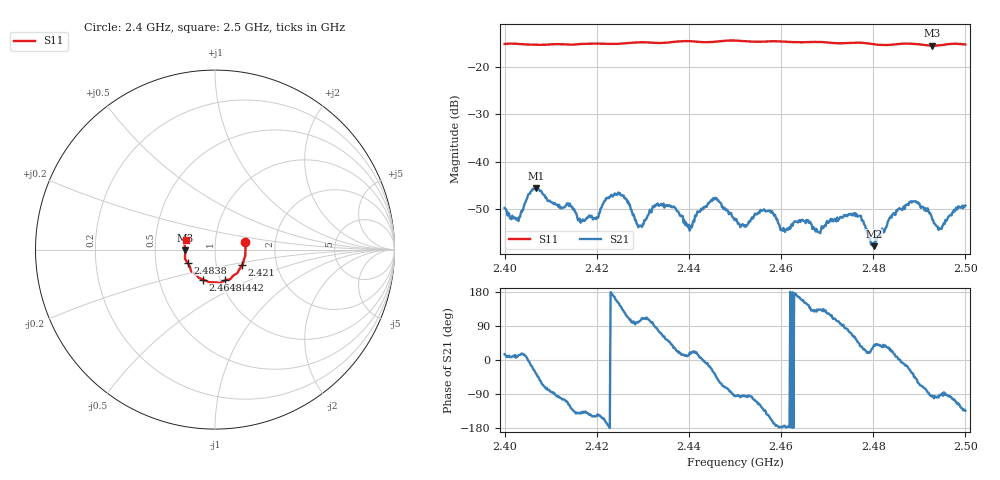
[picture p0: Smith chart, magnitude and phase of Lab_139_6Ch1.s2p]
# Hz S RI R 50
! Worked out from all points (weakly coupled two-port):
!   601 points, 2.4 GHz to 2.5 GHz, reference 50 ohm
!   highest |S21| = -45.57 dB at 2.4068 GHz (marker M1); lowest = -57.8 dB at 2.4802 GHz (marker M2)
!   lowest |S11| = -15.6 dB at 2.4928 GHz (marker M3), VSWR 1.40, Z = 35.8 - j0.355 ohm
!   |S11| at or under -10 dB: start of sweep to end of sweep
!   S12 and S22 are empty: the file has one direction only
!   S11 on the Smith chart (normalised r, x): 2.4 GHz: 1.40, +0.12; 2.421 GHz: 1.33, -0.24; 2.4442 GHz: 1.05, -0.37; 2.4648 GHz: 0.83, -0.29; 2.4838 GHz: 0.73, -0.11; 2.5 GHz: 0.72, +0.08
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2.4e9  0.1679 0.041  0.00314 0.000854  0 0  0 0
2.402833e9  0.1713 0.0255  0.00251 0.000414  0 0  0 0
2.406833e9  0.1694 -0.00795  0.00427 -0.00309  0 0  0 0
2.416667e9  0.1588 -0.0682  -0.00181 -0.00149  0 0  0 0
2.421e9  0.1503 -0.0878  -0.00284 -0.00161  0 0  0 0
2.425167e9  0.1351 -0.1091  -0.00351 0.00275  0 0  0 0
2.429333e9  0.1263 -0.1282  -0.000472 0.00207  0 0  0 0
2.433333e9  0.1078 -0.1405  0.000771 0.00349  0 0  0 0
2.440167e9  0.0813 -0.1663  0.00178 0.000623  0 0  0 0
2.444167e9  0.0567 -0.1713  0.00359 -0.000762  0 0  0 0
2.45e9  0.0244 -0.1863  -0.000197 -0.0025  0 0  0 0
2.456e9  -0.0141 -0.182  -0.00188 -0.00241  0 0  0 0
2.464833e9  -0.0683 -0.1668  -0.00221 0.000925  0 0  0 0
2.466667e9  -0.0799 -0.1627  -0.00142 0.00162  0 0  0 0
2.476833e9  -0.1313 -0.1207  0.00189 0.00188  0 0  0 0
2.480167e9  -0.1376 -0.1026  0.000998 0.000818  0 0  0 0
2.483333e9  -0.1505 -0.0763  0.00203 0.0013  0 0  0 0
2.483833e9  -0.1532 -0.0721  0.00245 0.00104  0 0  0 0
2.488667e9  -0.1675 -0.045  0.00309 -0.00227  0 0  0 0
2.492833e9  -0.1658 -0.00482  -0.000177 -0.00244  0 0  0 0
2.4945e9  -0.1669 0.0131  -0.000121 -0.00196  0 0  0 0
2.5e9  -0.1621 0.0531  -0.00238 -0.00249  0 0  0 0
